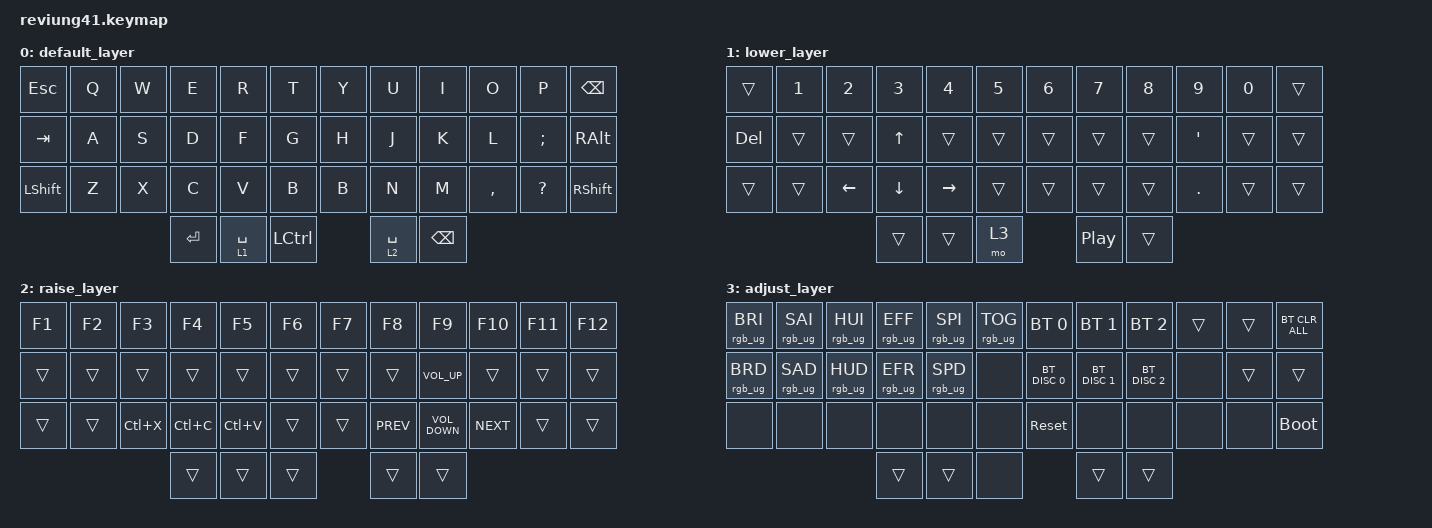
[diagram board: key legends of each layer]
/*
 * Copyright (c) 2020 The ZMK Contributors
 *
 * SPDX-License-Identifier: MIT
 */

#include <behaviors.dtsi>
#include <dt-bindings/zmk/bt.h>
#include <dt-bindings/zmk/keys.h>
#include <dt-bindings/zmk/rgb.h>

#define DEFAULT 0
#define LOWER  1
#define RAISE  2
#define ADJUST 3

/ {
    macros {
        delete_row: delete_row {
            compatible = "zmk,behavior-macro";
            label = "DELETE_ROW";
            #binding-cells = <0>;
            bindings = <&none>;
        };
    };

    keymap {
        compatible = "zmk,keymap";

        default_layer {
            // -------------------------------------------------------------------------------------
            // |  TAB |  Q  |  W  |  E  |  R  |  T  |   |  Y  |  U   |  I  |  O  |  P  |   BKSP    |
            // | CTRL |  A  |  S  |  D  |  F  |  G  |   |  H  |  J   |  K  |  L  |  ;  |    '      |
            // | SHFT |  Z  |  X  |  C  |  V  |  B  |   |  N  |  M   |  ,  |  .  |  /  | SHFT(RET) |
            //                         | ALT | LWR | SPC | RSE  | ALT |

            bindings = <
&kp ESC    &kp Q  &kp W  &kp E      &kp R        &kp T             &kp Y  &kp U        &kp I          &kp O      &kp P         &kp BSPC
&kp TAB    &kp A  &kp S  &kp D      &kp F        &kp G             &kp H  &kp J        &kp K          &kp L      &kp SEMI      &kp RIGHT_ALT
&kp LSHFT  &kp Z  &kp X  &kp C      &kp V        &kp B             &kp B  &kp N        &kp M          &kp COMMA  &kp QUESTION  &kp RIGHT_SHIFT
                         &kp ENTER  &lt 1 SPACE         &kp LCTRL         &lt 2 SPACE  &kp BACKSPACE
            >;
        };

        lower_layer {
            // ----------------------------------------------------------------------------------
            // |    |  !  |  @  |  #  |  $  |  %  |   |  ^  |  &  |  *  |  (  |  )  |    DEL    |
            // |    |  _  |  +  |  {  |  }  | "|" |   | LFT | DWN |  UP | RGT |  `  |     ~     |
            // |    | ESC | GUI | ALT | CAPS|  "  |   | HOME| END | PGUP| PGDN| PRSC| SHFT(RET) |
            //                       |     |     | RET | ADJ |     |

            bindings = <
&trans      &kp NUMBER_1  &kp NUMBER_2    &kp NUMBER_3    &kp NUMBER_4     &kp NUMBER_5         &kp NUMBER_6  &kp N7            &kp NUMBER_8  &kp NUMBER_9      &kp N0  &trans
&kp DELETE  &trans        &trans          &kp UP_ARROW    &trans           &trans               &trans        &trans            &trans        &kp SINGLE_QUOTE  &trans  &trans
&trans      &trans        &kp LEFT_ARROW  &kp DOWN_ARROW  &kp RIGHT_ARROW  &trans               &trans        &trans            &trans        &kp DOT           &trans  &trans
                                          &trans          &trans                         &mo 3                &kp C_PLAY_PAUSE  &trans
            >;
        };

        raise_layer {
            // -----------------------------------------------------------------------------------------
            // |    |  1  |  2  |  3  |  4  |  5  |   |  6  |  7  |  8  |  9  |  0  | DEL |
            // |    |  -  |  =  |  [  |  ]  |  \  |   | F1  | F2  | F3  | F4  | F5  | F6  |
            // |    | ESC | GUI | ALT | CAPS|  "  |   | F7  | F8  | F9  | F10 | F11 | F12 |
            //                       |     | ADJ | BKSP |    |     |

            bindings = <
&kp F1  &kp F2  &kp F3     &kp F4     &kp F5     &kp F6          &kp F7  &kp F8      &kp F9             &kp F10     &kp F11  &kp F12
&trans  &trans  &trans     &trans     &trans     &trans          &trans  &trans      &kp C_VOLUME_UP    &trans      &trans   &trans
&trans  &trans  &kp LC(X)  &kp LC(C)  &kp LC(V)  &trans          &trans  &kp C_PREV  &kp C_VOLUME_DOWN  &kp C_NEXT  &trans   &trans
                           &trans     &trans             &trans          &trans      &trans
            >;
        };

        adjust_layer {
            // -----------------------------------------------------------------------------------------
            // | RGB BRI+ | RGB SAT+ | RGB HUE+ | RGB ANI+ |    | RGB TOG |   |  BT1  | BT2 | BT3 | BT4 | BT5 | BT CLR |
            // | RGB BRI- | RGB SAT- | RGB HUE- | RGB ANI- |    |         |   |       |     |     |     |     |        |
            // |          |          |          |          |    |         |   | RESET |     |     |     |     |        |
            //                                              |     |     |     |     |     |

            bindings = <
&rgb_ug RGB_BRI  &rgb_ug RGB_SAI  &rgb_ug RGB_HUI  &rgb_ug RGB_EFF  &rgb_ug RGB_SPI  &rgb_ug RGB_TOG         &bt BT_SEL 0   &bt BT_SEL 1   &bt BT_SEL 2   &trans  &trans  &bt BT_CLR_ALL
&rgb_ug RGB_BRD  &rgb_ug RGB_SAD  &rgb_ug RGB_HUD  &rgb_ug RGB_EFR  &rgb_ug RGB_SPD  &none                   &bt BT_DISC 0  &bt BT_DISC 1  &bt BT_DISC 2  &none   &trans  &trans
&none            &none            &none            &none            &none            &none                   &sys_reset     &none          &none          &none   &none   &bootloader
                                                   &trans           &trans                            &none                 &trans         &trans
            >;
        };
    };
};
